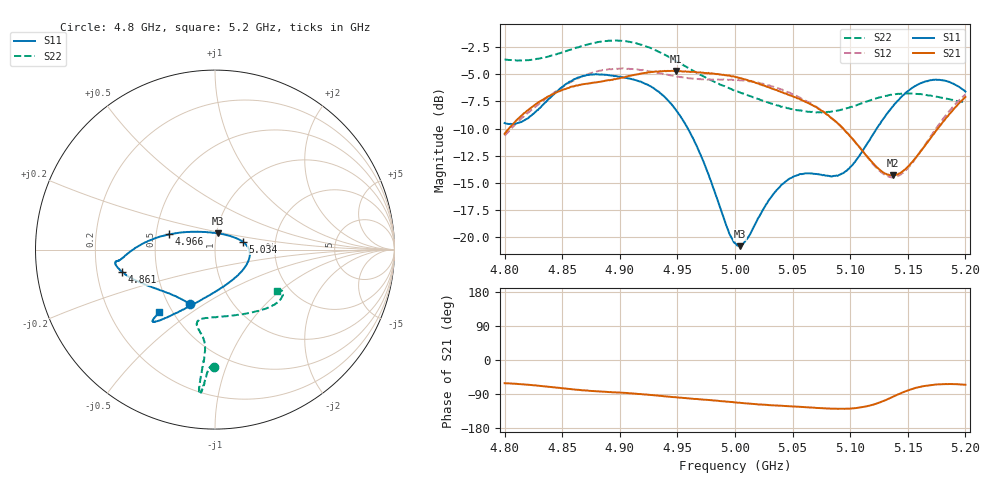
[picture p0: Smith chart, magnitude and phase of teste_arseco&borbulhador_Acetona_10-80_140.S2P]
! Network Analyzer HP8722D
! Hewlett-Packard
! Data name: Linha & Wilkinson
! Saver's name: Rodrigo Anjos
! Comments: Teste da utilização de aquisição
! continua pelo VNA HP8722D
! Time and date: 17/4/2025 15:31
!  Frequency  S11  S21  S12  S22
# HZ  S  MA R 50
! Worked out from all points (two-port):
!   401 points, 4.8 GHz to 5.2 GHz, reference 50 ohm
!   highest |S21| = -4.70 dB at 4.949 GHz (marker M1); lowest = -14.3 dB at 5.137 GHz (marker M2)
!   |S21| within 3 dB of the highest: 4.828 GHz to 5.064 GHz (236.6 MHz wide, 4.78 % of centre); 5.194223 GHz to end of sweep
!   lowest |S11| = -20.8 dB at 5.004 GHz (marker M3), VSWR 1.20, Z = 50.7 + j9.2 ohm
!   |S11| at or under -10 dB: 4.959 GHz to 5.123 GHz (163.9 MHz wide, 3.25 % of centre)
!   |S22| runs from -8.5 to -1.9 dB; largest |S21 - S12| = 0.87
!   S11 on the Smith chart (normalised r, x): 4.8 GHz: 0.64, -0.44; 4.861 GHz: 0.31, -0.11; 4.966 GHz: 0.59, +0.11; 5.034 GHz: 1.36, +0.13; 5.2 GHz: 0.42, -0.38
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4.8e9  0.3352 -114.7  0.2991 -61.3  0.2936 -175.6  0.6564 -90.6
4.819e9  0.3499 -134.8  0.3797 -65.1  0.368 -174.6  0.6515 -92.2
4.861e9  0.5341 -166.7  0.4959 -77.9  0.5296 -177.8  0.7389 -94.5
4.867e9  0.549 -169.0  0.5044 -79.8  0.5477 -179.0  0.7568 -94.8
4.9e9  0.5476 -173.4  0.5383 -86.1  0.5956 174.5  0.8 -96.1
4.934e9  0.4664 -179.2  0.5787 -94.4  0.5702 171.1  0.7102 -96.4
4.949e9  0.3831 173.6  0.5821 -98.3  0.5503 171.4  0.6457 -96.0
4.966e9  0.2682 161.6  0.5742 -102.7  0.5332 173.1  0.5727 -95.6
4.994e9  0.1083 115.7  0.5533 -110.1  0.5294 175.3  0.4863 -98.3
5e9  0.09408 95.6  0.5461 -111.9  0.5292 175.3  0.4716 -99.6
5.004e9  0.09122 80.5  0.5404 -112.7  0.5264 175.4  0.4642 -100.4
5.012e9  0.1013 54.1  0.5241 -114.9  0.5211 175.2  0.448 -102.0
5.034e9  0.16 16.3  0.4789 -119.8  0.4909 174.1  0.4082 -103.4
5.049e9  0.1878 1.4  0.4471 -122.3  0.4574 173.5  0.3885 -99.6
5.067e9  0.1967 -17.9  0.4059 -125.6  0.4087 173.0  0.3774 -89.8
5.097e9  0.2024 -70.4  0.3029 -128.5  0.3036 174.7  0.392 -66.4
5.122e9  0.3103 -108.8  0.2129 -115.8  0.2107 -170.4  0.4341 -49.1
5.134e9  0.3819 -118.5  0.1935 -101.4  0.1897 -154.2  0.4505 -43.0
5.137e9  0.3994 -120.1  0.1929 -97.3  0.1895 -149.6  0.453 -41.8
5.15e9  0.4691 -125.8  0.2111 -80.5  0.2085 -130.2  0.458 -37.0
5.17e9  0.5274 -130.3  0.2866 -66.1  0.2925 -112.2  0.4482 -32.4
5.2e9  0.4677 -131.6  0.4417 -65.4  0.4537 -107.4  0.4162 -33.9
